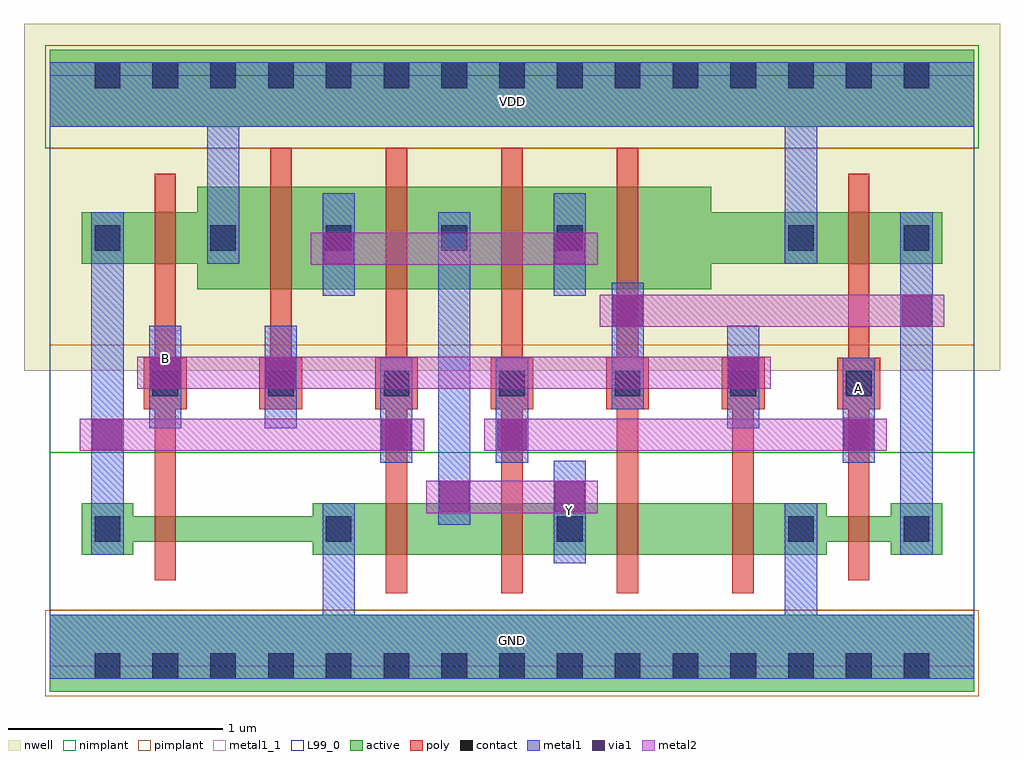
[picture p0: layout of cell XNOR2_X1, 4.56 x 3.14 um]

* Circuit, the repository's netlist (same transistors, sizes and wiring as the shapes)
* TV3_CELLS/XNOR2_X1: netlist from Virtuoso schematic
.SUBCKT XNOR2_X1 A B GND VDD Y
MMN5 n2 B GND GND nmos1v w=240n l=100n
MMN4 Y An n2 GND nmos1v w=240n l=100n
MMN3 n1 Bn GND GND nmos1v w=240n l=100n
MMN2 Y A n1 GND nmos1v w=240n l=100n
MMN1 Bn B GND GND nmos1v w=120n l=100n
MMN0 An A GND GND nmos1v w=120n l=100n
MMP5 Y Bn p1 VDD pmos1v w=480n l=100n
MMP4 Y A p1 VDD pmos1v w=480n l=100n
MMP3 p1 B VDD VDD pmos1v w=480n l=100n
MMP2 p1 An VDD VDD pmos1v w=480n l=100n
MMP1 Bn B VDD VDD pmos1v w=240n l=100n
MMP0 An A VDD VDD pmos1v w=240n l=100n
.ENDS XNOR2_X1

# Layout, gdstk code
import gdstk
lib = gdstk.Library(unit=1e-6, precision=5e-10)
def R(c, l, rs):  # rectangles x0, y0, x1, y1
    for r in rs: c.add(gdstk.rectangle(r[:2], r[2:], *l))
def A(c, l, x, y, w, h, nx, ny, dx, dy):  # array of equal rectangles
    R(c, l, [(x+i*dx, y+j*dy, x+i*dx+w, y+j*dy+h) for i in range(nx) for j in range(ny)])
active = (1, 0)
nwell = (2, 0)
poly = (3, 0)
nimplant = (4, 0)
pimplant = (5, 0)
contact = (6, 0)
metal1 = (7, 0)
metal1_1 = (7, 1)
via1 = (8, 0)
metal2 = (9, 0)
L99_0 = (99, 0)

xnor2_x1 = lib.new_cell('XNOR2_X1')
A(xnor2_x1, active, 1.23, 0.52, 0.24, 0.24, 6, 1, 0.54, 0)
A(xnor2_x1, active, 1.47, 0.52, 0.3, 0.24, 4, 1, 0.54, 0)
A(xnor2_x1, active, 0.69, 1.76, 0.24, 0.48, 5, 1, 0.54, 0)
A(xnor2_x1, active, 0.93, 1.76, 0.3, 0.48, 4, 1, 0.54, 0)
R(xnor2_x1, active, [(0,-0.12,4.32,0.24), (0.15,0.52,0.39,0.76), (0.39,0.58,0.69,0.7), (0.69,0.58,0.93,0.7), (0.93,0.58,1.23,0.7), (3.63,0.58,3.93,0.7), (0.15,1.88,0.39,2.12), (0.39,1.88,0.69,2.12), (3.09,1.88,3.39,2.12), (3.39,1.88,3.63,2.12), (3.63,1.88,3.93,2.12), (3.93,1.88,4.17,2.12), (0,2.52,4.32,2.88)])
R(xnor2_x1, nwell, [(-0.12,1.38,4.44,3)])
A(xnor2_x1, poly, 1.57, 0.34, 0.1, 2.08, 3, 1, 0.54, 0)
A(xnor2_x1, poly, 0.44, 1.2, 0.2, 0.24, 7, 1, 0.54, 0)
R(xnor2_x1, poly, [(3.19,0.34,3.29,1.44), (0.49,0.4,0.59,2.3), (3.73,0.4,3.83,2.3), (1.03,1.2,1.13,2.42)])
R(xnor2_x1, nimplant, [(0,0.26,4.32,1), (-0.02,2.42,4.34,2.9)])
R(xnor2_x1, pimplant, [(-0.02,-0.14,4.34,0.26), (0,1.5,4.32,2.42)])
A(xnor2_x1, contact, 0.21, -0.06, 0.12, 0.12, 15, 2, 0.27, 2.76)
A(xnor2_x1, contact, 0.21, 0.58, 0.12, 0.12, 4, 1, 1.08, 0)
A(xnor2_x1, contact, 0.48, 1.26, 0.12, 0.12, 7, 1, 0.54, 0)
A(xnor2_x1, contact, 0.21, 1.94, 0.12, 0.12, 5, 1, 0.54, 0)
R(xnor2_x1, contact, [(3.99,0.58,4.11,0.7), (3.45,1.94,3.57,2.06), (3.99,1.94,4.11,2.06)])
R(xnor2_x1, metal1, [(0,-0.06,4.32,0.24), (1.275,0,1.425,0.76), (3.435,0,3.585,0.76), (2.355,0.48,2.505,0.96), (0.195,0.52,0.345,2.12), (3.975,0.52,4.125,2.12), (1.815,0.66,1.965,2.12), (1.545,0.95,1.695,1.44), (2.085,0.95,2.235,1.44), (3.705,0.95,3.855,1.44), (0.465,1.11,0.615,1.59), (1.005,1.11,1.155,1.59), (3.165,1.11,3.315,1.59), (2.625,1.2,2.775,1.79), (1.275,1.73,1.425,2.21), (2.355,1.73,2.505,2.21), (0.735,1.88,0.885,2.76), (3.435,1.88,3.585,2.76), (0,2.52,4.32,2.82)])
R(xnor2_x1, metal1_1, [(0,0,4.32,0.24), (2.355,0.59,2.505,0.86), (3.705,1.16,3.855,1.43), (0.465,1.3,0.615,1.57), (0,2.52,4.32,2.76)])
R(xnor2_x1, via1, [(1.82,0.72,1.96,0.86), (2.36,0.72,2.5,0.86), (0.2,1.01,0.34,1.15), (1.55,1.01,1.69,1.15), (2.09,1.01,2.23,1.15), (3.71,1.01,3.85,1.15), (0.47,1.3,0.61,1.44), (1.01,1.3,1.15,1.44), (3.17,1.3,3.31,1.44), (2.63,1.59,2.77,1.73), (3.98,1.59,4.12,1.73), (1.28,1.88,1.42,2.02), (2.36,1.88,2.5,2.02)])
R(xnor2_x1, metal2, [(1.76,0.715,2.56,0.865), (0.14,1.005,1.75,1.155), (2.03,1.005,3.91,1.155), (0.41,1.295,3.37,1.445), (2.57,1.585,4.18,1.735), (1.22,1.875,2.56,2.025)])
R(xnor2_x1, L99_0, [(0,0,4.32,2.76)])
xnor2_x1.add(gdstk.Label('Y', (2.43,0.725), layer=7, texttype=3))
xnor2_x1.add(gdstk.Label('B', (0.54,1.435), layer=7, texttype=3))
xnor2_x1.add(gdstk.Label('A', (3.78,1.295), layer=7, texttype=3))
xnor2_x1.add(gdstk.Label('VDD', (2.16,2.64), layer=7, texttype=3))
xnor2_x1.add(gdstk.Label('GND', (2.16,0.12), layer=7, texttype=3))

lib.write_gds('XNOR2_X1.gds')
